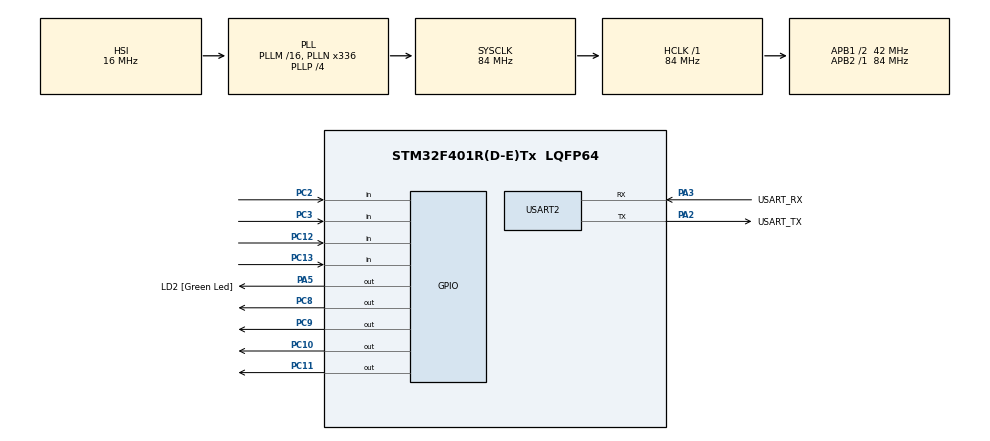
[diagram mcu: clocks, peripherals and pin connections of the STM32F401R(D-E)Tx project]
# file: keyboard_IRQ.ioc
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Mcu.Family=STM32F4
Mcu.Name=STM32F401R(D-E)Tx
Mcu.Package=LQFP64
NVIC.PriorityGroup=NVIC_PRIORITYGROUP_0
NVIC.TIM2_IRQn=true\:0\:0\:false\:false\:true\:true\:true
PA13.GPIO_Label=TMS
PA13.Mode=Serial_Wire
PA13.Signal=SYS_JTMS-SWDIO
PA14.GPIO_Label=TCK
PA14.Mode=Serial_Wire
PA14.Signal=SYS_JTCK-SWCLK
PA2.GPIO_Label=USART_TX
PA2.GPIO_Mode=GPIO_MODE_AF_PP
PA2.GPIO_PuPd=GPIO_NOPULL
PA2.GPIO_Speed=GPIO_SPEED_FREQ_LOW
PA2.Mode=Asynchronous
PA2.Signal=USART2_TX
PA3.GPIO_Label=USART_RX
PA3.GPIO_Mode=GPIO_MODE_AF_PP
PA3.GPIO_PuPd=GPIO_NOPULL
PA3.GPIO_Speed=GPIO_SPEED_FREQ_LOW
PA3.Mode=Asynchronous
PA3.Signal=USART2_RX
PA5.GPIO_Label=LD2 [Green Led]
PA5.GPIO_Mode=GPIO_MODE_OUTPUT_PP
PA5.GPIO_PuPd=GPIO_NOPULL
PA5.GPIO_Speed=GPIO_SPEED_FREQ_LOW
PA5.Signal=GPIO_Output
PB3.GPIO_Label=SWO
PB3.Signal=SYS_JTDO-SWO
PC10.Signal=GPIO_Output
PC11.Signal=GPIO_Output
PC12.Signal=GPIO_Input
PC13-ANTI_TAMP.Signal=GPIO_Input
PC14-OSC32_IN.Mode=LSE-External-Oscillator
PC14-OSC32_IN.Signal=RCC_OSC32_IN
PC15-OSC32_OUT.Mode=LSE-External-Oscillator
PC15-OSC32_OUT.Signal=RCC_OSC32_OUT
PC2.Signal=GPIO_Input
PC3.Signal=GPIO_Input
PC8.Signal=GPIO_Output
PC9.Signal=GPIO_Output
PH0\ -\ OSC_IN.Mode=HSE-External-Clock-Source
PH0\ -\ OSC_IN.Signal=RCC_OSC_IN
PH1\ -\ OSC_OUT.Mode=HSE-External-Clock-Source
PH1\ -\ OSC_OUT.Signal=RCC_OSC_OUT
ProjectManager.HeapSize=0x200
ProjectManager.StackSize=0x400
ProjectManager.TargetToolchain=STM32CubeIDE
RCC.48MHZClocksFreq_Value=48000000
RCC.AHBFreq_Value=84000000
RCC.APB1CLKDivider=RCC_HCLK_DIV2
RCC.APB1Freq_Value=42000000
RCC.APB1TimFreq_Value=84000000
RCC.APB2Freq_Value=84000000
RCC.APB2TimFreq_Value=84000000
RCC.CortexFreq_Value=84000000
RCC.HCLKFreq_Value=84000000
RCC.HSE_VALUE=8000000
RCC.HSI_VALUE=16000000
RCC.PLLN=336
RCC.PLLP=RCC_PLLP_DIV4
RCC.PLLQ=7
RCC.SYSCLKFreq_VALUE=84000000
RCC.SYSCLKSource=RCC_SYSCLKSOURCE_PLLCLK
RCC.VCOOutputFreq_Value=336000000
TIM2.CounterMode=TIM_COUNTERMODE_UP
TIM2.Period=100 - 1
TIM2.Prescaler=840 - 1
USART2.VirtualMode=VM_ASYNC
VP_TIM2_VS_ClockSourceINT.Mode=Internal
board=NUCLEO-F401RE

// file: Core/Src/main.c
/* USER CODE BEGIN Header */
/**
  ******************************************************************************
  * @file           : main.c
  * @brief          : Main program body
  ******************************************************************************
  * @attention
  *
  * <h2><center>&copy; Copyright (c) 2021 STMicroelectronics.
  * All rights reserved.</center></h2>
  *
  * This software component is licensed by ST under BSD 3-Clause license,
  * the "License"; You may not use this file except in compliance with the
  * License. You may obtain a copy of the License at:
  *                        opensource.org/licenses/BSD-3-Clause
  *
  ******************************************************************************
  */
/* USER CODE END Header */
#include "main.h"

/* USER CODE BEGIN PD */

/*
 * Row inputs
 */
//#define ROW1 GPIOC, GPIO_PIN_12
//#define ROW2 GPIOC, GPIO_PIN_13
//#define ROW3 GPIOC, GPIO_PIN_2
//#define ROW4 GPIOC, GPIO_PIN_3

/*
 * Column outputs
 */
//#define COL1 GPIOC, GPIO_PIN_8
//#define COL2 GPIOC, GPIO_PIN_9
//#define COL3 GPIOC, GPIO_PIN_10
//#define COL4 GPIOC, GPIO_PIN_11

#define ROW_NUM 4
#define COL_NUM 4

/* USER CODE END PD */

TIM_HandleTypeDef htim2;

UART_HandleTypeDef huart2;

/* USER CODE BEGIN PV */
typedef struct {
	GPIO_TypeDef* port;
	uint16_t pin;
}GPIO_Tuple;

GPIO_Tuple ROW0 = {GPIOC, GPIO_PIN_12};
GPIO_Tuple ROW1 = {GPIOC, GPIO_PIN_13};
GPIO_Tuple ROW2 = {GPIOC, GPIO_PIN_2};
GPIO_Tuple ROW3 = {GPIOC, GPIO_PIN_3};

GPIO_Tuple ROWS[4];

GPIO_Tuple COL0 = {GPIOC, GPIO_PIN_8};
GPIO_Tuple COL1 = {GPIOC, GPIO_PIN_9};
GPIO_Tuple COL2 = {GPIOC, GPIO_PIN_10};
GPIO_Tuple COL3 = {GPIOC, GPIO_PIN_11};

GPIO_Tuple COLS[4];

char SYMBOLS[4][4];

uint16_t i = 0;
uint8_t buffer[100];
uint8_t buflen = 0;
uint8_t isPressed = 0;
uint8_t longPress[4][4] = {0}; //checks if a key has been released or not

/* USER CODE END PV */

void SystemClock_Config(void);
static void MX_GPIO_Init(void);
static void MX_USART2_UART_Init(void);
static void MX_TIM2_Init(void);

/* USER CODE BEGIN 0 */
void rows_Init(){
	ROWS[0] = ROW0;
	ROWS[1] = ROW1;
	ROWS[2] = ROW2;
	ROWS[3] = ROW3;
}

void columns_Init(){
	COLS[0] = COL0;
	COLS[1] = COL1;
	COLS[2] = COL2;
	COLS[3] = COL3;
}

void symbols_Init(){
	SYMBOLS[0][0] = '0';
	SYMBOLS[0][1] = '1';
	SYMBOLS[0][2] = '2';
	SYMBOLS[0][3] = '3';
	SYMBOLS[1][0] = '4';
	SYMBOLS[1][1] = '5';
	SYMBOLS[1][2] = '6';
	SYMBOLS[1][3] = '7';
	SYMBOLS[2][0] = '8';
	SYMBOLS[2][1] = '9';
	SYMBOLS[2][2] = 'A';
	SYMBOLS[2][3] = 'B';
	SYMBOLS[3][0] = 'C';
	SYMBOLS[3][1] = 'D';
	SYMBOLS[3][2] = 'E';
	SYMBOLS[3][3] = 'F';
}
/* USER CODE END 0 */

int main(void)
{

  /* MCU Configuration--------------------------------------------------------*/

  /* Reset of all peripherals, Initializes the Flash interface and the Systick. */
  HAL_Init();

  /* Configure the system clock */
  SystemClock_Config();

  /* USER CODE BEGIN SysInit */
  rows_Init();
  columns_Init();
  symbols_Init();
  /* USER CODE END SysInit */

  /* Initialize all configured peripherals */
  MX_GPIO_Init();
  MX_USART2_UART_Init();
  MX_TIM2_Init();
  /* USER CODE BEGIN 2 */
  HAL_TIM_Base_Start_IT(&htim2);
  /*
   * We activate the first col immediately, so that there's time before we read the row values
   * It's the equivalent of the 1ms delay of the base case.
   */
  HAL_GPIO_WritePin(COLS[0].port, COLS[0].pin, GPIO_PIN_SET);
  /* USER CODE END 2 */

  /* Infinite loop */
  while (1)
  {

  }
}

void SystemClock_Config(void)
{
  RCC_OscInitTypeDef RCC_OscInitStruct = {0};
  RCC_ClkInitTypeDef RCC_ClkInitStruct = {0};

  /** Configure the main internal regulator output voltage
  */
  __HAL_RCC_PWR_CLK_ENABLE();
  __HAL_PWR_VOLTAGESCALING_CONFIG(PWR_REGULATOR_VOLTAGE_SCALE2);
  /** Initializes the RCC Oscillators according to the specified parameters
  * in the RCC_OscInitTypeDef structure.
  */
  RCC_OscInitStruct.OscillatorType = RCC_OSCILLATORTYPE_HSI;
  RCC_OscInitStruct.HSIState = RCC_HSI_ON;
  RCC_OscInitStruct.HSICalibrationValue = RCC_HSICALIBRATION_DEFAULT;
  RCC_OscInitStruct.PLL.PLLState = RCC_PLL_ON;
  RCC_OscInitStruct.PLL.PLLSource = RCC_PLLSOURCE_HSI;
  RCC_OscInitStruct.PLL.PLLM = 16;
  RCC_OscInitStruct.PLL.PLLN = 336;
  RCC_OscInitStruct.PLL.PLLP = RCC_PLLP_DIV4;
  RCC_OscInitStruct.PLL.PLLQ = 7;
  if (HAL_RCC_OscConfig(&RCC_OscInitStruct) != HAL_OK)
  {
    Error_Handler();
  }
  /** Initializes the CPU, AHB and APB buses clocks
  */
  RCC_ClkInitStruct.ClockType = RCC_CLOCKTYPE_HCLK|RCC_CLOCKTYPE_SYSCLK
                              |RCC_CLOCKTYPE_PCLK1|RCC_CLOCKTYPE_PCLK2;
  RCC_ClkInitStruct.SYSCLKSource = RCC_SYSCLKSOURCE_PLLCLK;
  RCC_ClkInitStruct.AHBCLKDivider = RCC_SYSCLK_DIV1;
  RCC_ClkInitStruct.APB1CLKDivider = RCC_HCLK_DIV2;
  RCC_ClkInitStruct.APB2CLKDivider = RCC_HCLK_DIV1;

  if (HAL_RCC_ClockConfig(&RCC_ClkInitStruct, FLASH_LATENCY_2) != HAL_OK)
  {
    Error_Handler();
  }
}

static void MX_TIM2_Init(void)
{

  TIM_ClockConfigTypeDef sClockSourceConfig = {0};
  TIM_MasterConfigTypeDef sMasterConfig = {0};

  htim2.Instance = TIM2;
  htim2.Init.Prescaler = 840 - 1;
  htim2.Init.CounterMode = TIM_COUNTERMODE_UP;
  htim2.Init.Period = 100 - 1;
  htim2.Init.ClockDivision = TIM_CLOCKDIVISION_DIV1;
  htim2.Init.AutoReloadPreload = TIM_AUTORELOAD_PRELOAD_DISABLE;
  if (HAL_TIM_Base_Init(&htim2) != HAL_OK)
  {
    Error_Handler();
  }
  sClockSourceConfig.ClockSource = TIM_CLOCKSOURCE_INTERNAL;
  if (HAL_TIM_ConfigClockSource(&htim2, &sClockSourceConfig) != HAL_OK)
  {
    Error_Handler();
  }
  sMasterConfig.MasterOutputTrigger = TIM_TRGO_RESET;
  sMasterConfig.MasterSlaveMode = TIM_MASTERSLAVEMODE_DISABLE;
  if (HAL_TIMEx_MasterConfigSynchronization(&htim2, &sMasterConfig) != HAL_OK)
  {
    Error_Handler();
  }

}

static void MX_USART2_UART_Init(void)
{

  huart2.Instance = USART2;
  huart2.Init.BaudRate = 115200;
  huart2.Init.WordLength = UART_WORDLENGTH_8B;
  huart2.Init.StopBits = UART_STOPBITS_1;
  huart2.Init.Parity = UART_PARITY_NONE;
  huart2.Init.Mode = UART_MODE_TX_RX;
  huart2.Init.HwFlowCtl = UART_HWCONTROL_NONE;
  huart2.Init.OverSampling = UART_OVERSAMPLING_16;
  if (HAL_UART_Init(&huart2) != HAL_OK)
  {
    Error_Handler();
  }

}

static void MX_GPIO_Init(void)
{
  GPIO_InitTypeDef GPIO_InitStruct = {0};

  /* GPIO Ports Clock Enable */
  __HAL_RCC_GPIOC_CLK_ENABLE();
  __HAL_RCC_GPIOH_CLK_ENABLE();
  __HAL_RCC_GPIOA_CLK_ENABLE();
  __HAL_RCC_GPIOB_CLK_ENABLE();

  /*Configure GPIO pin Output Level */
  HAL_GPIO_WritePin(LD2_GPIO_Port, LD2_Pin, GPIO_PIN_RESET);

  /*Configure GPIO pin Output Level */
  HAL_GPIO_WritePin(GPIOC, GPIO_PIN_8|GPIO_PIN_9|GPIO_PIN_10|GPIO_PIN_11, GPIO_PIN_RESET);

  /*Configure GPIO pins : PC13 PC2 PC3 PC12 */
  GPIO_InitStruct.Pin = GPIO_PIN_13|GPIO_PIN_2|GPIO_PIN_3|GPIO_PIN_12;
  GPIO_InitStruct.Mode = GPIO_MODE_INPUT;
  GPIO_InitStruct.Pull = GPIO_NOPULL;
  HAL_GPIO_Init(GPIOC, &GPIO_InitStruct);

  /*Configure GPIO pin : LD2_Pin */
  GPIO_InitStruct.Pin = LD2_Pin;
  GPIO_InitStruct.Mode = GPIO_MODE_OUTPUT_PP;
  GPIO_InitStruct.Pull = GPIO_NOPULL;
  GPIO_InitStruct.Speed = GPIO_SPEED_FREQ_LOW;
  HAL_GPIO_Init(LD2_GPIO_Port, &GPIO_InitStruct);

  /*Configure GPIO pins : PC8 PC9 PC10 PC11 */
  GPIO_InitStruct.Pin = GPIO_PIN_8|GPIO_PIN_9|GPIO_PIN_10|GPIO_PIN_11;
  GPIO_InitStruct.Mode = GPIO_MODE_OUTPUT_PP;
  GPIO_InitStruct.Pull = GPIO_NOPULL;
  GPIO_InitStruct.Speed = GPIO_SPEED_FREQ_LOW;
  HAL_GPIO_Init(GPIOC, &GPIO_InitStruct);

}

/* USER CODE BEGIN 4 */
void HAL_TIM_PeriodElapsedCallback(TIM_HandleTypeDef *htim){
	 if(htim == &htim2){
		 for (int j = 0; j < ROW_NUM; j++) {
			  isPressed = !HAL_GPIO_ReadPin(ROWS[j].port, ROWS[j].pin);
			  if (isPressed) {
				  if (!longPress[j][i]) {
					  buflen = snprintf(buffer, sizeof(buffer), "%c", SYMBOLS[j][i]);
					  HAL_UART_Transmit(&huart2, buffer, buflen, 100);
					  longPress[j][i] = 1;
				  }
			  }
			  else
				  longPress[j][i] = 0;
		 }
		 HAL_GPIO_WritePin(COLS[i].port, COLS[i].pin, GPIO_PIN_RESET);
		 if(++i > COL_NUM - 1)
			 i = 0;
		 HAL_GPIO_WritePin(COLS[i].port, COLS[i].pin, GPIO_PIN_SET);

	 }
}
/* USER CODE END 4 */

void Error_Handler(void)
{
  __disable_irq();
  while (1)
  {
  }
}

/************************ (C) COPYRIGHT STMicroelectronics *****END OF FILE****/
